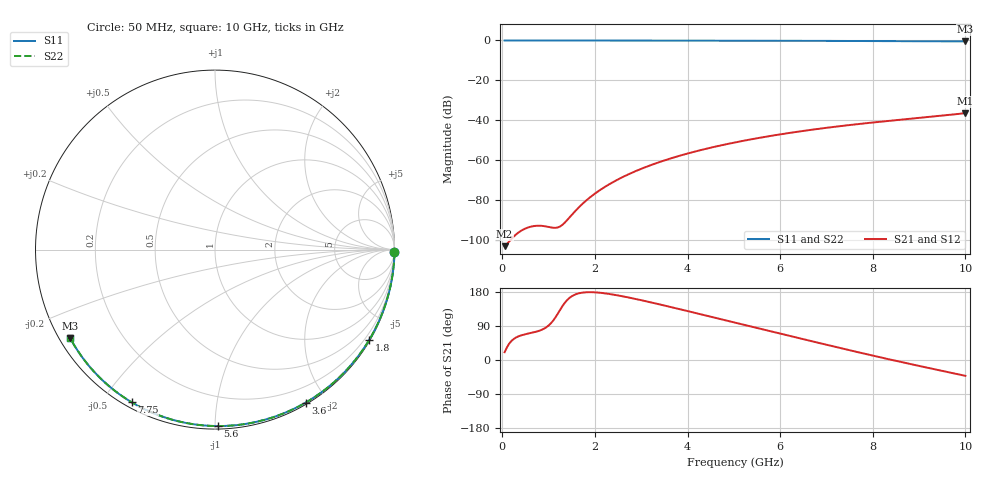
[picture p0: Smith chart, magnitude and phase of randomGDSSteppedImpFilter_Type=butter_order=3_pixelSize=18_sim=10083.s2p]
! freq	dB(S11)	phase(S11)	dB(S12)	phase(S12)
!  dB(S21)	phase(S21)	dB(S22)	phase(S22)
!S-par simulation data
#  GHz  S  DB  R 50
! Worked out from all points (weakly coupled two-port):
!   200 points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, 50 MHz to 10 GHz, reference 50 ohm
!   highest |S21| = -36.48 dB at 10 GHz (marker M1); lowest = -103.2 dB at 50 MHz (marker M2)
!   lowest |S11| = -0.5 dB at 10 GHz (marker M3), VSWR 35.81, Z = 1.51 - j14.1 ohm
!   |S11| at or under -10 dB: nowhere
!   |S22| runs from -0.5 to 0.0 dB; largest |S21 - S12| = 0
!   S11 on the Smith chart (normalised r, x): 50 MHz: open; 1.8 GHz: 0.03, -3.67; 3.6 GHz: 0.02, -1.75; 5.6 GHz: 0.02, -1.02; 7.75 GHz: 0.02, -0.59; 10 GHz: 0.03, -0.28
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0.05  -0.00 -0.9  -103.22 20.6  -103.22 20.6  -0.00 -0.9
0.45  -0.01 -7.7  -94.90 66.5  -94.90 66.5  -0.01 -7.7
0.85  -0.02 -14.5  -93.02 79.7  -93.02 79.7  -0.02 -14.5
1.3  -0.03 -22.1  -92.47 142.4  -92.47 142.4  -0.03 -22.1
1.75  -0.04 -29.6  -81.58 178.1  -81.58 178.1  -0.04 -29.6
1.8  -0.04 -30.5  -80.54 178.7  -80.54 178.7  -0.04 -30.5
1.85  -0.04 -31.3  -79.55 179.0  -79.55 179.0  -0.04 -31.3
2.05  -0.04 -34.6  -76.00 178.1  -76.00 178.1  -0.04 -34.6
2.2  -0.05 -37.0  -73.70 176.2  -73.70 176.2  -0.05 -37.1
2.55  -0.05 -42.7  -69.12 169.2  -69.12 169.2  -0.05 -42.8
2.95  -0.06 -49.2  -64.88 159.2  -64.88 159.2  -0.06 -49.2
3.4  -0.07 -56.3  -60.97 146.7  -60.97 146.7  -0.07 -56.3
3.6  -0.08 -59.4  -59.45 140.9  -59.45 140.9  -0.08 -59.4
4.3  -0.10 -70.1  -54.92 120.2  -54.92 120.2  -0.10 -70.1
5.05  -0.12 -81.2  -51.05 97.9  -51.05 97.9  -0.12 -81.2
5.6  -0.15 -89.1  -48.66 81.6  -48.66 81.6  -0.15 -89.2
6.15  -0.17 -96.9  -46.58 65.3  -46.58 65.3  -0.17 -96.9
6.7  -0.20 -104.5  -44.74 49.0  -44.74 49.0  -0.20 -104.5
7.75  -0.27 -118.6  -41.79 18.7  -41.79 18.7  -0.27 -118.7
8.35  -0.32 -126.6  -40.34 1.9  -40.34 1.9  -0.32 -126.6
9.2  -0.40 -137.8  -38.41 -20.9  -38.41 -20.9  -0.40 -137.9
10  -0.49 -148.5  -36.48 -41.8  -36.48 -41.8  -0.49 -148.6
